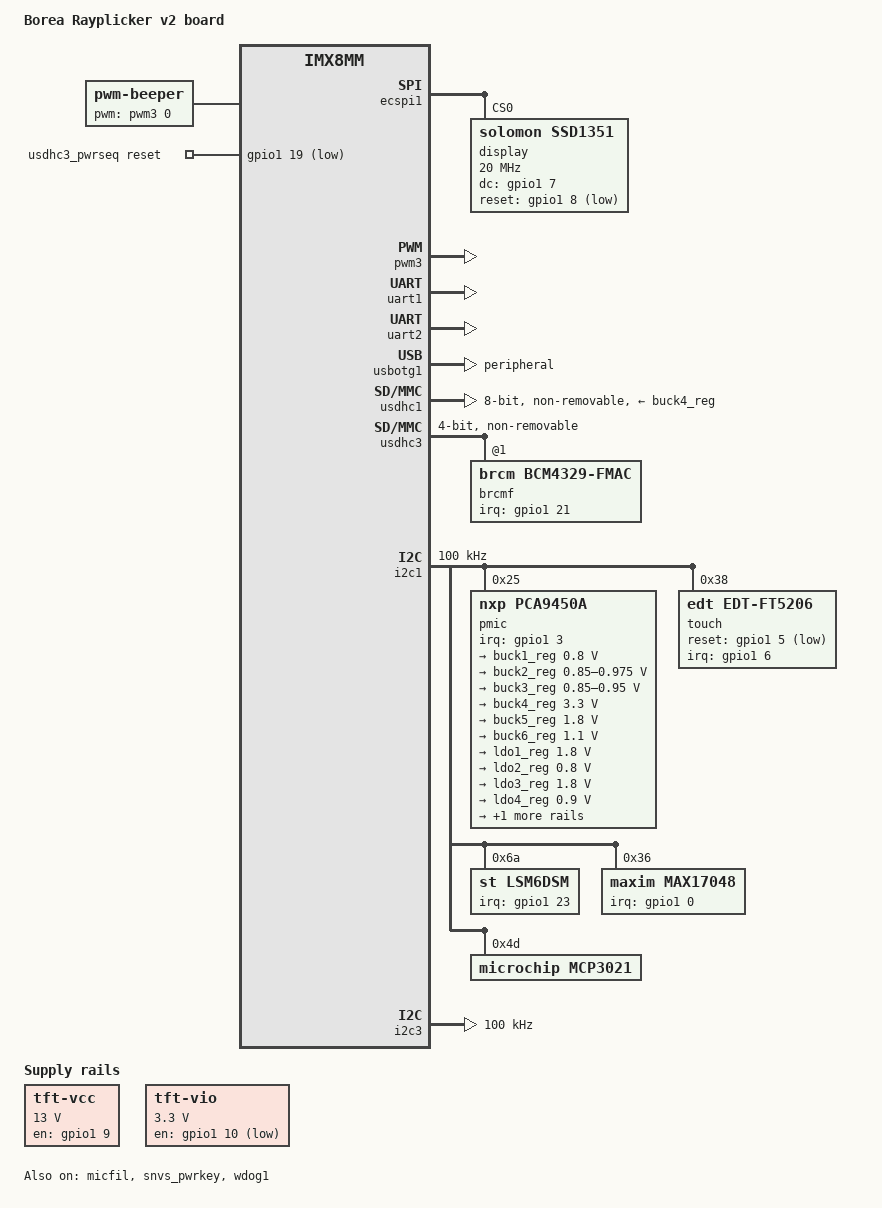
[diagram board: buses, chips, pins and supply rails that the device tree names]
// SPDX-License-Identifier: (GPL-2.0+ OR MIT)
//
// Copyright 2020 Borea

/dts-v1/;

#include "imx8mm.dtsi"

/ {
	model = "Borea Rayplicker v2 board";
	compatible = "borea,rayplicker-v2", "fsl,imx8mm";

	chosen {
		stdout-path = &uart1;
	};

	memory@40000000 {
		reg = <0x00000000 0x40000000 0 0>; /* will be filled by U-Boot */
		device_type = "memory";
	};

	beeper {
		compatible = "pwm-beeper";
		pwms = <&pwm3 0 2700>;
		beeper-hz = <2700>;
	};

	usdhc3_pwrseq: usdhc3-pwrseq {
		compatible = "mmc-pwrseq-simple";
		reset-gpios = <&gpio1 19 GPIO_ACTIVE_LOW>;
	};

	regulators {
		compatible = "simple-bus";
		#address-cells = <1>;
		#size-cells = <0>;

		regulator-tft-vcc {
			compatible = "regulator-fixed";
			regulator-name = "tft-vcc";
			gpio = <&gpio1 9 GPIO_ACTIVE_HIGH>;
			enable-active-high;
			regulator-min-microvolt = <13000000>;
			regulator-max-microvolt = <13000000>;
			regulator-always-on; /* TODO: Make this runtime-controllable */
		};

		regulator-tft-vio {
			compatible = "regulator-fixed";
			regulator-name = "tft-vio";
			gpio = <&gpio1 10 GPIO_ACTIVE_LOW>;
			enable-active-low;
			regulator-min-microvolt = <3300000>;
			regulator-max-microvolt = <3300000>;
			regulator-always-on; /* TODO: Make this runtime-controllable */
		};
	};
};

&A53_0 {
	cpu-supply = <&buck2_reg>;
};

&ecspi1 {
	pinctrl-names = "default";
	pinctrl-0 = <&pinctrl_ecspi1>;
	status = "okay";

	/* CS is controlled by SS0. */
	num-cs = <1>;

	/* Densitron TFT Display */
	display@0 {
		pinctrl-names = "default";
		pinctrl-0 = <&pinctrl_tft>;
		compatible = "solomon,ssd1351";
		reg = <0>;

		spi-max-frequency = <20000000>;

		dc-gpios = <&gpio1 7 GPIO_ACTIVE_HIGH>;
		reset-gpios = <&gpio1 8 GPIO_ACTIVE_LOW>;

		backlight = <2>; /* On-board backlight */
		bgr;
		buswidth = <8>;
		gamma = "0 2 2 2 2 2 2 2 2 2 2 2 2 2 2 2 2 2 2 2 2 2 2 2 2 2 2 2 3 3 3 3 3 3 3 3 3 3 3 3 3 3 3 3 3 3 3 3 3 4 4 4 4 4 4 4 4 4 4 4 4 4 4";
	};
};

&micfil {
	pinctrl-names = "default";
	pinctrl-0 = <&pinctrl_pdm>;
	assigned-clocks = <&clk IMX8MM_CLK_PDM>;
	assigned-clock-parents = <&clk IMX8MM_AUDIO_PLL1_OUT>;
	assigned-clock-rates = <196608000>;
	status = "okay";
};

&pwm3 {
	pinctrl-names = "default";
	pinctrl-0 = <&pinctrl_pwm3>;
	status = "okay";
};

&snvs_pwrkey {
	status = "okay";
};

/* console */
&uart1 {
	pinctrl-names = "default";
	pinctrl-0 = <&pinctrl_uart1>;
	status = "okay";
};

/* Bluetooth */
&uart2 {
	pinctrl-names = "default";
	pinctrl-0 = <&pinctrl_uart2 &pinctrl_bluetooth>;
	uart-has-rtscts;
	status = "okay";
};

&usbotg1 {
	dr_mode = "peripheral";
	disable-over-current;
	status = "okay";
};

/* eMMC */
&usdhc1 {
	pinctrl-names = "default", "state_100mhz", "state_200mhz";
	pinctrl-0 = <&pinctrl_usdhc1>;
	pinctrl-1 = <&pinctrl_usdhc1_100mhz>;
	pinctrl-2 = <&pinctrl_usdhc1_200mhz>;
	bus-width = <8>;
	non-removable;
	vmmc-supply = <&buck4_reg>;
	vqmmc-supply = <&buck5_reg>;
	mmc-ddr-1_8v;
	mmc-hs200-1_8v;
	mmc-hs400-1_8v;
	mmc-hs400-enhanced-strobe;
	status = "okay";
};

/* WiFi */
&usdhc3 {
	pinctrl-names = "default";
	pinctrl-0 = <&pinctrl_usdhc3>;
	bus-width = <4>;
	no-1-8-v;
	non-removable;
	mmc-pwrseq = <&usdhc3_pwrseq>;
	keep-power-in-suspend;
	cap-power-off-card;
	status = "okay";

	#address-cells = <1>;
	#size-cells = <0>;

	brcmf: wifi@1 {
		compatible = "brcm,bcm4329-fmac";
		reg = <1>;
		interrupt-parent = <&gpio1>;
		interrupts = <21 IRQ_TYPE_LEVEL_LOW>;
		interrupt-names = "host-wake";
	};
};

&i2c1 {
	clock-frequency = <100000>;
	pinctrl-names = "default";
	pinctrl-0 = <&pinctrl_i2c1>;
	status = "okay";

	pmic: pmic@25 {
		compatible = "nxp,pca9450a";
		reg = <0x25>;
		pinctrl-names = "default";
		pinctrl-0 = <&pinctrl_pmic>;
		interrupt-parent = <&gpio1>;
		interrupts = <3 IRQ_TYPE_LEVEL_LOW>;

		regulators {
			pca9450,pmic-buck2-uses-i2c-dvs;

			/* VDD_SOC_0V8 */
			buck1_reg: BUCK1 {
				regulator-name = "BUCK1";
				regulator-min-microvolt = <800000>;
				regulator-max-microvolt = <800000>;
				regulator-boot-on;
				regulator-always-on;
				regulator-ramp-delay = <3125>;
			};

			/* VDD_ARM_0V9 */
			buck2_reg: BUCK2 {
				regulator-name = "BUCK2";
				regulator-min-microvolt = <850000>;
				regulator-max-microvolt = <975000>;
				regulator-boot-on;
				regulator-always-on;
				regulator-ramp-delay = <3125>;
				nxp,dvs-run-voltage = <975000>;
				nxp,dvs-standby-voltage = <850000>;
			};

			/* VDD_DRAM_PU_0V9 */
			buck3_reg: BUCK3 {
				regulator-name = "BUCK3";
				regulator-min-microvolt = <850000>;
				regulator-max-microvolt = <950000>;
				regulator-boot-on;
				regulator-always-on;
			};

			/* VDD_3V3 */
			buck4_reg: BUCK4 {
				regulator-name = "BUCK4";
				regulator-min-microvolt = <3300000>;
				regulator-max-microvolt = <3300000>;
				regulator-boot-on;
				regulator-always-on;
			};

			/* VDD_1V8 */
			buck5_reg: BUCK5 {
				regulator-name = "BUCK5";
				regulator-min-microvolt = <1800000>;
				regulator-max-microvolt = <1800000>;
				regulator-boot-on;
				regulator-always-on;
			};

			/* NVCC_DRAM_1V1 */
			buck6_reg: BUCK6 {
				regulator-name = "BUCK6";
				regulator-min-microvolt = <1100000>;
				regulator-max-microvolt = <1100000>;
				regulator-boot-on;
				regulator-always-on;
			};

			/* NVCC_SNVS_1V8 */
			ldo1_reg: LDO1 {
				regulator-name = "LDO1";
				regulator-min-microvolt = <1800000>;
				regulator-max-microvolt = <1800000>;
				regulator-boot-on;
				regulator-always-on;
			};

			/* VDD_SNVS_0V8 */
			ldo2_reg: LDO2 {
				regulator-name = "LDO2";
				regulator-min-microvolt = <800000>;
				regulator-max-microvolt = <800000>;
				regulator-boot-on;
				regulator-always-on;
			};

			/* VDDA_1V8 */
			ldo3_reg: LDO3 {
				regulator-name = "LDO3";
				regulator-min-microvolt = <1800000>;
				regulator-max-microvolt = <1800000>;
				regulator-boot-on;
				regulator-always-on;
			};

			/* VDD_PHY_0V9 */
			ldo4_reg: LDO4 {
				regulator-name = "LDO4";
				regulator-min-microvolt = <900000>;
				regulator-max-microvolt = <900000>;
				regulator-boot-on;
				regulator-always-on;
			};

			ldo5_reg: LDO5 {
				regulator-name = "LDO5";
				regulator-min-microvolt = <1800000>;
				regulator-max-microvolt = <3300000>;
			};
		};
	};

        /* Touchscreen */
	touch@38 {
		pinctrl-names = "default";
		pinctrl-0 = <&pinctrl_touchscreen>;

		compatible = "edt,edt-ft5206";
		reg = <0x38>;
		interrupts-extended = <&gpio1 6 IRQ_TYPE_EDGE_FALLING>;
		reset-gpios = <&gpio1 5 GPIO_ACTIVE_LOW>;
	};

	lsm6dsm@6a {
		compatible = "st,lsm6dsm";
		reg = <0x6a>;
		pinctrl-names = "default";
		pinctrl-0 = <&pinctrl_imu>;
		interrupt-parent = <&gpio1>;
		interrupts = <23 IRQ_TYPE_EDGE_RISING>,
			     <22 IRQ_TYPE_EDGE_RISING>;
	};

	max17048@36 {
		compatible = "maxim,max17048";
		reg = <0x36>;
		pinctrl-names = "default";
		pinctrl-0 = <&pinctrl_gauge>;
		interrupt-parent = <&gpio1>;
		interrupts = <0 IRQ_TYPE_LEVEL_LOW>;
	};

	mcp3021@4d {
		compatible = "microchip,mcp3021";
		reg = <0x4d>;
		reference-voltage-microvolt = <3300000>; /* 3.3 V */
	};
};

&i2c3 {
	clock-frequency = <100000>;
	pinctrl-names = "default";
	pinctrl-0 = <&pinctrl_i2c3>;
	status = "okay";
};

&wdog1 {
	pinctrl-names = "default";
	pinctrl-0 = <&pinctrl_wdog>;
	fsl,ext-reset-output;
	status = "okay";
};

&iomuxc {
	pinctrl-names = "default";
	pinctrl-0 = <&pinctrl_gpios>,
		    <&pinctrl_leds_driver>, <&pinctrl_leds_power>,
		    <&pinctrl_camera>;

	pinctrl_bluetooth: bluetoothgrp {
		fsl,pins = <
			/* BT_EN */
			MX8MM_IOMUXC_ENET_RXC_GPIO1_IO25	0x92
		>;
	};

	pinctrl_camera: cameragrp {
		fsl,pins = <
			MX8MM_IOMUXC_GPIO1_IO15_CCMSRCGPCMIX_CLKO2	0x90
			/* CAM_RESET */
			MX8MM_IOMUXC_SAI1_TXD0_GPIO4_IO12	0x92
			/* CAM_PWR_ON# */
			MX8MM_IOMUXC_SAI1_TXD2_GPIO4_IO14	0x92
		>;
	};

	pinctrl_ecspi1: ecspi1grp {
		fsl,pins = <
			MX8MM_IOMUXC_ECSPI1_MOSI_ECSPI1_MOSI	0x90
			MX8MM_IOMUXC_ECSPI1_SCLK_ECSPI1_SCLK	0x90
			MX8MM_IOMUXC_ECSPI1_SS0_ECSPI1_SS0	0x90
		>;
	};

	pinctrl_gpios: gpiosgrp {
		fsl,pins = <
			MX8MM_IOMUXC_SD2_CD_B_GPIO2_IO12		0x90
			MX8MM_IOMUXC_SD2_CLK_GPIO2_IO13			0x90
			MX8MM_IOMUXC_SD2_CMD_GPIO2_IO14			0x90
			MX8MM_IOMUXC_SD2_DATA0_GPIO2_IO15		0x90
			MX8MM_IOMUXC_SD2_DATA2_GPIO2_IO17		0x90
			MX8MM_IOMUXC_SD2_DATA3_GPIO2_IO18		0x90
			MX8MM_IOMUXC_SD2_RESET_B_GPIO2_IO19		0x90
		>;
	};

	pinctrl_i2c1: i2c1grp {
		fsl,pins = <
			MX8MM_IOMUXC_I2C1_SCL_I2C1_SCL			0x40000082
			MX8MM_IOMUXC_I2C1_SDA_I2C1_SDA			0x40000082
		>;
	};

	pinctrl_i2c3: i2c3grp {
		fsl,pins = <
			MX8MM_IOMUXC_I2C3_SCL_I2C3_SCL			0x40000082
			MX8MM_IOMUXC_I2C3_SDA_I2C3_SDA			0x40000082
		>;
	};

	pinctrl_imu: imugrp {
		fsl,pins = <
			MX8MM_IOMUXC_ENET_TXC_GPIO1_IO23	0x92
			MX8MM_IOMUXC_ENET_TX_CTL_GPIO1_IO22	0x92
		>;
	};

	pinctrl_leds_driver: ledsdrivergrp {
		fsl,pins = <
			/* LED_SOUT */
			MX8MM_IOMUXC_ECSPI2_MISO_GPIO5_IO12	0x92
			/* LED_SIN */
			MX8MM_IOMUXC_ECSPI2_MOSI_GPIO5_IO11	0x92
			/* LED_SCLK */
			MX8MM_IOMUXC_ECSPI2_SCLK_GPIO5_IO10	0x92
			/* LED_LAT */
			MX8MM_IOMUXC_ECSPI2_SS0_GPIO5_IO13	0x92
		>;
	};

	pinctrl_leds_power: ledspowergrp {
		fsl,pins = <
			MX8MM_IOMUXC_SAI1_TXD6_GPIO4_IO18	0x90
		>;
	};

	pinctrl_pdm: pdmgrp {
		fsl,pins = <
			MX8MM_IOMUXC_SAI5_RXC_PDM_CLK		0x00
			MX8MM_IOMUXC_SAI5_RXD0_PDM_DATA0	0x90
		>;
	};

	pinctrl_pmic: pmicgrp {
		fsl,pins = <
			MX8MM_IOMUXC_GPIO1_IO03_GPIO1_IO3		0x90
		>;
	};

	pinctrl_pwm3: pwm3grp {
		fsl,pins = <
			MX8MM_IOMUXC_GPIO1_IO14_PWM3_OUT	0x92
		>;
	};

	pinctrl_gauge: gaugegrp {
		fsl,pins = <
			MX8MM_IOMUXC_GPIO1_IO01_GPIO1_IO1		0x90
		>;
	};

	pinctrl_tft: tftgrp {
		fsl,pins = <
			/* TFT_D-C */
			MX8MM_IOMUXC_GPIO1_IO07_GPIO1_IO7	0x92
			/* TFT_RESET */
			MX8MM_IOMUXC_GPIO1_IO08_GPIO1_IO8	0x92
			/* TFT_VCC_PWR */
			MX8MM_IOMUXC_GPIO1_IO09_GPIO1_IO9	0x92
			/* TFT_VIO_PWR# */
			MX8MM_IOMUXC_GPIO1_IO10_GPIO1_IO10	0x92
		>;
	};

	pinctrl_touchscreen: touchscreengrp {
		fsl,pins = <
			/* TOUCH_RST */
			MX8MM_IOMUXC_GPIO1_IO05_GPIO1_IO5	0x92
			/* TOUCH_INT */
			MX8MM_IOMUXC_GPIO1_IO06_GPIO1_IO6	0x90
		>;
	};

	pinctrl_uart1: uart1grp {
		fsl,pins = <
			MX8MM_IOMUXC_UART1_RXD_UART1_DCE_RX	0x0E
			MX8MM_IOMUXC_UART1_TXD_UART1_DCE_TX	0x0E
		>;
	};

	pinctrl_uart2: uart2grp {
		fsl,pins = <
			MX8MM_IOMUXC_SAI3_RXC_UART2_DCE_CTS_B	0xD2
			MX8MM_IOMUXC_SAI3_RXD_UART2_DCE_RTS_B	0x92
			MX8MM_IOMUXC_SAI3_TXC_UART2_DCE_TX	0xD2
			MX8MM_IOMUXC_SAI3_TXFS_UART2_DCE_RX	0x92
		>;
	};

	pinctrl_usdhc1: usdhc1grp {
		fsl,pins = <
			MX8MM_IOMUXC_SD1_CLK_USDHC1_CLK			0x190
			MX8MM_IOMUXC_SD1_CMD_USDHC1_CMD			0x1d0
			MX8MM_IOMUXC_SD1_DATA0_USDHC1_DATA0		0x1d0
			MX8MM_IOMUXC_SD1_DATA1_USDHC1_DATA1		0x1d0
			MX8MM_IOMUXC_SD1_DATA2_USDHC1_DATA2		0x1d0
			MX8MM_IOMUXC_SD1_DATA3_USDHC1_DATA3		0x1d0
			MX8MM_IOMUXC_SD1_DATA4_USDHC1_DATA4		0x1d0
			MX8MM_IOMUXC_SD1_DATA5_USDHC1_DATA5		0x1d0
			MX8MM_IOMUXC_SD1_DATA6_USDHC1_DATA6		0x1d0
			MX8MM_IOMUXC_SD1_DATA7_USDHC1_DATA7		0x1d0
			MX8MM_IOMUXC_SD1_RESET_B_USDHC1_RESET_B 	0x1d0
			MX8MM_IOMUXC_SD1_STROBE_USDHC1_STROBE		0x190
		>;
	};

	pinctrl_usdhc1_100mhz: usdhc1grp100mhz {
		fsl,pins = <
			MX8MM_IOMUXC_SD1_CLK_USDHC1_CLK			0x194
			MX8MM_IOMUXC_SD1_CMD_USDHC1_CMD			0x1d4
			MX8MM_IOMUXC_SD1_DATA0_USDHC1_DATA0		0x1d4
			MX8MM_IOMUXC_SD1_DATA1_USDHC1_DATA1		0x1d4
			MX8MM_IOMUXC_SD1_DATA2_USDHC1_DATA2		0x1d4
			MX8MM_IOMUXC_SD1_DATA3_USDHC1_DATA3		0x1d4
			MX8MM_IOMUXC_SD1_DATA4_USDHC1_DATA4		0x1d4
			MX8MM_IOMUXC_SD1_DATA5_USDHC1_DATA5		0x1d4
			MX8MM_IOMUXC_SD1_DATA6_USDHC1_DATA6		0x1d4
			MX8MM_IOMUXC_SD1_DATA7_USDHC1_DATA7		0x1d4
			MX8MM_IOMUXC_SD1_RESET_B_USDHC1_RESET_B 	0x1d4
			MX8MM_IOMUXC_SD1_STROBE_USDHC1_STROBE		0x194
		>;
	};

	pinctrl_usdhc1_200mhz: usdhc1grp200mhz {
		fsl,pins = <
			MX8MM_IOMUXC_SD1_CLK_USDHC1_CLK			0x196
			MX8MM_IOMUXC_SD1_CMD_USDHC1_CMD			0x1d6
			MX8MM_IOMUXC_SD1_DATA0_USDHC1_DATA0		0x1d6
			MX8MM_IOMUXC_SD1_DATA1_USDHC1_DATA1		0x1d6
			MX8MM_IOMUXC_SD1_DATA2_USDHC1_DATA2		0x1d6
			MX8MM_IOMUXC_SD1_DATA3_USDHC1_DATA3		0x1d6
			MX8MM_IOMUXC_SD1_DATA4_USDHC1_DATA4		0x1d6
			MX8MM_IOMUXC_SD1_DATA5_USDHC1_DATA5		0x1d6
			MX8MM_IOMUXC_SD1_DATA6_USDHC1_DATA6		0x1d6
			MX8MM_IOMUXC_SD1_DATA7_USDHC1_DATA7		0x1d6
			MX8MM_IOMUXC_SD1_RESET_B_USDHC1_RESET_B 	0x1d6
			MX8MM_IOMUXC_SD1_STROBE_USDHC1_STROBE		0x196
		>;
	};

	pinctrl_usdhc3: usdhc3grp {
		fsl,pins = <
			MX8MM_IOMUXC_NAND_WE_B_USDHC3_CLK		0x92
			MX8MM_IOMUXC_NAND_WP_B_USDHC3_CMD		0x92
			MX8MM_IOMUXC_NAND_DATA04_USDHC3_DATA0		0x92
			MX8MM_IOMUXC_NAND_DATA05_USDHC3_DATA1		0x92
			MX8MM_IOMUXC_NAND_DATA06_USDHC3_DATA2		0x92
			MX8MM_IOMUXC_NAND_DATA07_USDHC3_DATA3		0x92
			/* WL_GPIO0 */
			MX8MM_IOMUXC_ENET_TD0_GPIO1_IO21		0x80
			/* WLAN_EN */
			MX8MM_IOMUXC_ENET_TD2_GPIO1_IO19		0x92
		>;
	};

	pinctrl_wdog: wdoggrp {
		fsl,pins = <
			MX8MM_IOMUXC_GPIO1_IO02_WDOG1_WDOG_B		0x92
		>;
	};
};
